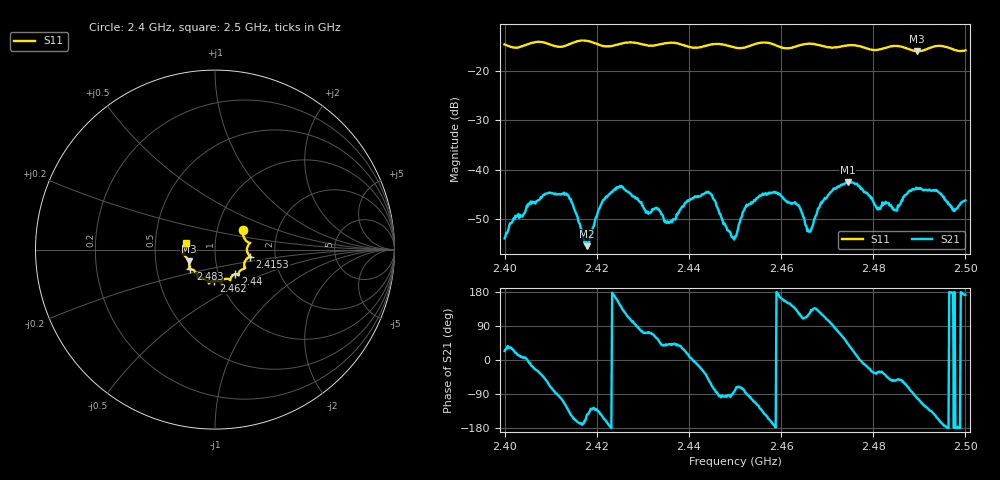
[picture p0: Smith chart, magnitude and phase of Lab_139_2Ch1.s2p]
# Hz S RI R 50
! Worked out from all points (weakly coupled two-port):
!   601 points, 2.4 GHz to 2.5 GHz, reference 50 ohm
!   highest |S21| = -42.54 dB at 2.4745 GHz (marker M1); lowest = -55.6 dB at 2.4178 GHz (marker M2)
!   lowest |S11| = -15.9 dB at 2.4895 GHz (marker M3), VSWR 1.38, Z = 37 - j5 ohm
!   |S11| at or under -10 dB: start of sweep to end of sweep
!   S12 and S22 are empty: the file has one direction only
!   S11 on the Smith chart (normalised r, x): 2.4 GHz: 1.33, +0.29; 2.4153 GHz: 1.48, -0.12; 2.44 GHz: 1.21, -0.34; 2.462 GHz: 0.93, -0.33; 2.483 GHz: 0.74, -0.17; 2.5 GHz: 0.72, +0.06
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2.4e9  0.1554 0.1068  0.00182 0.000808  0 0  0 0
2.409167e9  0.1906 0.0327  0.00321 -0.00473  0 0  0 0
2.415333e9  0.196 -0.0386  -0.00349 -0.00134  0 0  0 0
2.416667e9  0.2019 -0.0425  -0.00242 -0.000542  0 0  0 0
2.417833e9  0.2005 -0.0419  -0.00137 -0.000937  0 0  0 0
2.421e9  0.1755 -0.0532  -0.00368 -0.00252  0 0  0 0
2.4245e9  0.1637 -0.0922  -0.00609 0.00258  0 0  0 0
2.433333e9  0.1308 -0.1337  0.00238 0.00321  0 0  0 0
2.435833e9  0.1321 -0.1447  0.00214 0.00192  0 0  0 0
2.44e9  0.114 -0.1363  0.0047 0.000954  0 0  0 0
2.4445e9  0.085 -0.1663  0.00307 -0.00486  0 0  0 0
2.45e9  0.0648 -0.1626  0.000375 -0.00205  0 0  0 0
2.452167e9  0.043 -0.1701  0.000365 -0.00406  0 0  0 0
2.4555e9  0.0371 -0.1921  -0.00339 -0.00427  0 0  0 0
2.462e9  -0.00487 -0.1729  -0.00386 0.00239  0 0  0 0
2.466667e9  -0.0343 -0.1882  -0.00165 0.00194  0 0  0 0
2.469e9  -0.0399 -0.1768  -0.00229 0.00416  0 0  0 0
2.4745e9  -0.0907 -0.1608  0.00547 0.00508  0 0  0 0
2.483e9  -0.1376 -0.1094  0.00324 -0.0032  0 0  0 0
2.483333e9  -0.1402 -0.1091  0.003 -0.00345  0 0  0 0
2.4895e9  -0.1462 -0.0659  -0.00111 -0.00629  0 0  0 0
2.5e9  -0.1595 0.0391  -0.00482 0.00066  0 0  0 0
